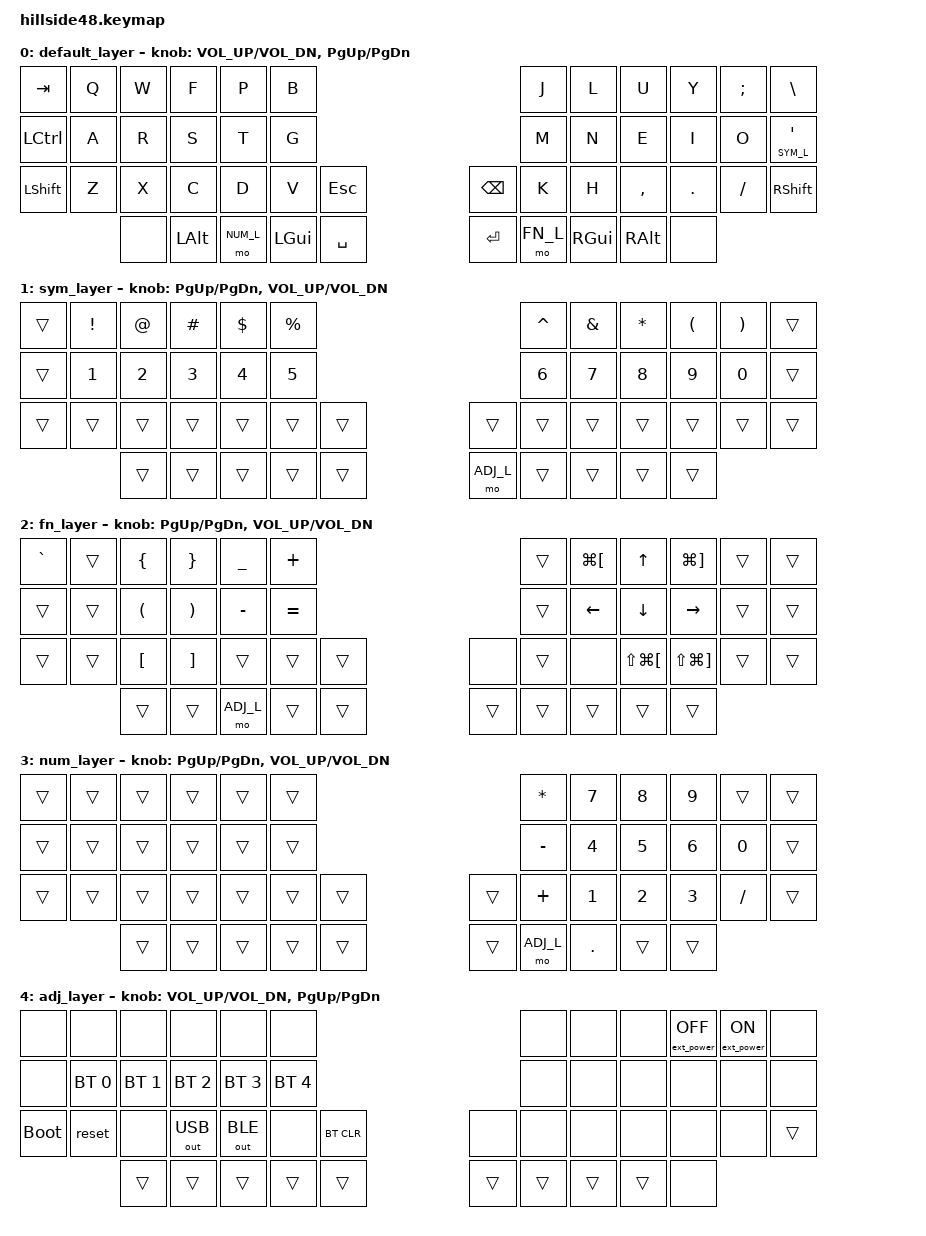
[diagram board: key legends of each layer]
/*
 * Copyright (c) 2022 The ZMK Contributors
 *
 * SPDX-License-Identifier: MIT
 */

#include <behaviors.dtsi>
#include <dt-bindings/zmk/bt.h>
#include <dt-bindings/zmk/ext_power.h>
#include <dt-bindings/zmk/keys.h>
#include <dt-bindings/zmk/outputs.h>

#define MAIN_L 0
#define SYM_L  1
#define FN_L   2
#define NUM_L  3
#define ADJ_L  4

#define LTAB LS(LG(LBKT))
#define RTAB LS(LG(RBKT))

/ {
        keymap {
                compatible = "zmk,keymap";

                default_layer {
                        bindings = <
&kp TAB    &kp Q      &kp W      &kp F      &kp P       &kp B                                                   &kp J      &kp L      &kp U      &kp Y     &kp SEMI   &kp BSLH
&kp LCTRL  &kp A      &kp R      &kp S      &kp T       &kp G                                                   &kp M      &kp N      &kp E      &kp I     &kp O      &lt SYM_L SQT 
&kp LSHFT  &kp Z      &kp X      &kp C      &kp D       &kp V       &kp ESC                          &kp BSPC   &kp K      &kp H      &kp COMMA  &kp DOT   &kp SLASH  &kp RSHFT
                      &none                 &kp LALT    &mo NUM_L   &kp LGUI  &kp SPACE  &kp ENTER   &mo FN_L   &kp RGUI   &kp RALT              &none 
                        >;
                        sensor-bindings = <&inc_dec_kp C_VOL_UP C_VOL_DN &inc_dec_kp PG_UP PG_DN>;
                };
		
                sym_layer {
                        bindings = <
&trans     &kp EXCL   &kp AT     &kp HASH   &kp DOLLAR  &kp PERCENT                                             &kp CARET  &kp AMPS   &kp ASTRK  &kp LPAR   &kp RPAR  &trans
&trans     &kp N1     &kp N2     &kp N3     &kp N4      &kp N5                                                  &kp N6     &kp N7     &kp N8     &kp N9     &kp N0    &trans
&trans     &trans     &trans     &trans     &trans      &trans       &trans                          &trans     &trans     &trans     &trans     &trans     &trans    &trans
                      &trans                &trans      &trans       &trans    &trans     &mo ADJ_L  &trans     &trans     &trans                &trans
                        >;
                        sensor-bindings = <&inc_dec_kp PG_UP PG_DN &inc_dec_kp C_VOL_UP C_VOL_DN>;
                };
		
                fn_layer {
                        bindings = <
&kp GRAVE  &trans     &kp LBRC   &kp RBRC   &kp UNDER   &kp PLUS                                                &trans     &kp LG(LBKT)  &kp UP    &kp LG(RBKT) &trans  &trans
&trans     &trans     &kp LPAR   &kp RPAR   &kp MINUS   &kp EQUAL                                               &trans     &kp LEFT      &kp DOWN  &kp RIGHT    &trans  &trans
&trans     &trans     &kp LBKT   &kp RBKT   &trans      &trans        &trans                         &none      &trans     &none         &kp LTAB  &kp RTAB     &trans  &trans
                      &trans                &trans      &mo ADJ_L     &trans     &trans   &trans     &trans     &trans     &trans                  &trans
                        >;
                        sensor-bindings = <&inc_dec_kp PG_UP PG_DN &inc_dec_kp C_VOL_UP C_VOL_DN>;
                };

                num_layer {
                        bindings = <
&trans  &trans  &trans  &trans  &trans  &trans                                                               &kp STAR   &kp N7  &kp N8  &kp N9  &trans     &trans
&trans  &trans  &trans  &trans  &trans  &trans                                                               &kp MINUS  &kp N4  &kp N5  &kp N6  &kp N0     &trans
&trans  &trans  &trans  &trans  &trans  &trans  &trans                                               &trans  &kp PLUS   &kp N1  &kp N2  &kp N3  &kp SLASH  &trans
                &trans          &trans  &trans  &trans  &trans                            &trans  &mo ADJ_L  &kp DOT    &trans          &trans
                        >;
                        sensor-bindings = <&inc_dec_kp PG_UP PG_DN &inc_dec_kp C_VOL_UP C_VOL_DN>;
                };
		
                adj_layer {
                        bindings = <
&none       &none         &none         &none         &none         &none                                            &none   &none    &none  &ext_power EP_OFF  &ext_power EP_ON &none
&none       &bt BT_SEL 0  &bt BT_SEL 1  &bt BT_SEL 2  &bt BT_SEL 3  &bt BT_SEL 4                                     &none   &none    &none  &none           &none               &none
&bootloader &reset        &none         &out OUT_USB  &out OUT_BLE  &none        &bt BT_CLR                  &none   &none   &none    &none  &none           &none               &trans
                          &trans                      &trans        &trans       &trans      &trans  &trans  &trans  &trans  &trans          &none
                        >;
                        sensor-bindings = <&inc_dec_kp C_VOL_UP C_VOL_DN &inc_dec_kp PG_UP PG_DN>;
                };
        };
};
